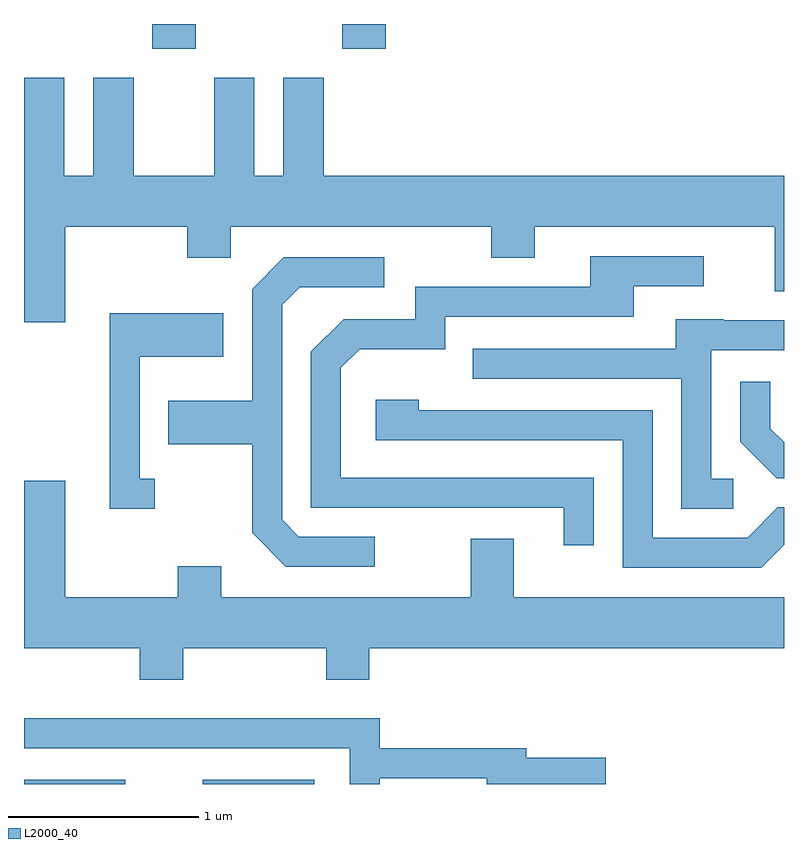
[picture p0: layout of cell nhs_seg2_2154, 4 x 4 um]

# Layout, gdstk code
import gdstk
lib = gdstk.Library(unit=1e-6, precision=1e-09)
def R(c, l, rs):  # rectangles x0, y0, x1, y1
    for r in rs: c.add(gdstk.rectangle(r[:2], r[2:], *l))
def P(c, l, *ps):  # polygons
    for p in ps: c.add(gdstk.Polygon(p, *l))
L2000_40 = (2000, 40)

nhs_seg2_2154 = lib.new_cell('nhs_seg2_2154')
R(nhs_seg2_2154, L2000_40, [(247.611,1069.802,248.144,1069.824), (248.551,1069.802,249.139,1069.824), (248.286,1073.671,248.514,1073.802), (249.286,1073.671,249.514,1073.802)])
P(nhs_seg2_2154, L2000_40, [(247.829,1072.736),(248.471,1072.736),(248.471,1072.571),(248.699,1072.571),(248.699,1072.736),(250.071,1072.736),(250.071,1072.571),(250.299,1072.571),(250.299,1072.736),(251.561,1072.736),(251.561,1072.396),(251.611,1072.396),(251.611,1073.004),(249.189,1073.004),(249.189,1073.519),(248.976,1073.519),(248.976,1073.004),(248.824,1073.004),(248.824,1073.519),(248.611,1073.519),(248.611,1073.004),(248.189,1073.004),(248.189,1073.519),(247.976,1073.519),(247.976,1073.004),(247.824,1073.004),(247.824,1073.519),(247.611,1073.519),(247.611,1072.231),(247.829,1072.231)],
  [(250.609,1071.414),(249.279,1071.414),(249.279,1071.994),(249.377,1072.091),(249.829,1072.091),(249.829,1072.261),(250.819,1072.261),(250.819,1072.421),(251.188,1072.421),(251.188,1072.579),(250.591,1072.579),(250.591,1072.419),(249.671,1072.419),(249.671,1072.249),(249.294,1072.249),(249.121,1072.077),(249.121,1071.256),(250.451,1071.256),(250.451,1071.058),(250.609,1071.058)],
  [(249.458,1071.104),(249.057,1071.104),(248.969,1071.192),(248.969,1072.324),(249.062,1072.416),(249.508,1072.416),(249.508,1072.574),(248.979,1072.574),(248.811,1072.407),(248.811,1071.819),(248.371,1071.819),(248.371,1071.591),(248.811,1071.591),(248.811,1071.124),(248.989,1070.946),(249.458,1070.946)],
  [(248.298,1071.409),(248.219,1071.409),(248.219,1072.051),(248.659,1072.051),(248.659,1072.279),(248.061,1072.279),(248.061,1071.251),(248.298,1071.251)],
  [(251.343,1071.409),(251.229,1071.409),(251.229,1072.086),(251.611,1072.086),(251.611,1072.244),(251.295,1072.244),(251.295,1072.249),(251.041,1072.249),(251.041,1072.094),(249.973,1072.094),(249.973,1071.936),(251.071,1071.936),(251.071,1071.251),(251.343,1071.251)],
  [(251.611,1071.6),(251.539,1071.672),(251.539,1071.918),(251.381,1071.918),(251.381,1071.604),(251.574,1071.411),(251.611,1071.411)],
  [(251.611,1071.06),(251.611,1071.259),(251.579,1071.259),(251.419,1071.099),(250.919,1071.099),(250.919,1071.769),(249.689,1071.769),(249.689,1071.824),(249.461,1071.824),(249.461,1071.611),(250.761,1071.611),(250.761,1070.941),(251.492,1070.941)],
  [(248.449,1070.516),(249.201,1070.516),(249.201,1070.351),(249.429,1070.351),(249.429,1070.516),(251.611,1070.516),(251.611,1070.784),(250.189,1070.784),(250.189,1071.094),(249.961,1071.094),(249.961,1070.784),(248.649,1070.784),(248.649,1070.949),(248.421,1070.949),(248.421,1070.784),(247.829,1070.784),(247.829,1071.399),(247.611,1071.399),(247.611,1070.516),(248.221,1070.516),(248.221,1070.351),(248.449,1070.351)],
  [(249.484,1069.831),(250.046,1069.831),(250.046,1069.802),(250.674,1069.802),(250.674,1069.939),(250.254,1069.939),(250.254,1069.989),(249.484,1069.989),(249.484,1070.149),(247.611,1070.149),(247.611,1069.991),(249.326,1069.991),(249.326,1069.802),(249.484,1069.802)])

lib.write_gds('nhs_seg2_2154.gds')
